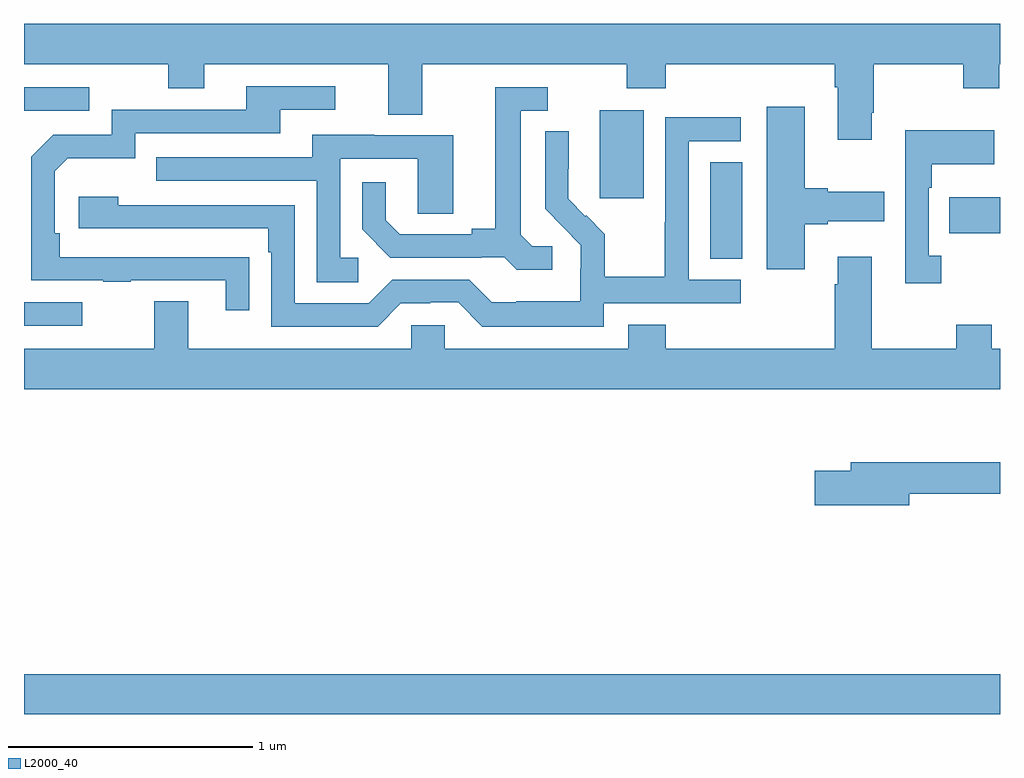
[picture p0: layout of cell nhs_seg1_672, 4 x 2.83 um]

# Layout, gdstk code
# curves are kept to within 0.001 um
import gdstk
lib = gdstk.Library(unit=1e-6, precision=1e-09)
def R(c, l, rs):  # rectangles x0, y0, x1, y1
    for r in rs: c.add(gdstk.rectangle(r[:2], r[2:], *l))
def P(c, l, *ps):  # polygons
    for p in ps: c.add(gdstk.Polygon(p, *l))
L2000_40 = (2000, 40)

nhs_seg1_672 = lib.new_cell('nhs_seg1_672')
R(nhs_seg1_672, L2000_40, [(147,553.064,151,553.228), (147,554.655,147.238,554.751), (149.813,554.929,149.944,555.326), (150.793,555.034,151,555.181), (149.36,555.177,149.539,555.538), (147,555.537,147.268,555.633)])
P(nhs_seg1_672, L2000_40, [(147,555.728),(147.592,555.728),(147.592,555.629),(147.739,555.629),(147.739,555.728),(148.493,555.728),(148.493,555.52),(148.633,555.52),(148.633,555.728),(149.47,555.728),(149.47,555.629),(149.63,555.629),(149.63,555.728),(150.323,555.728),(150.323,555.632),(150.335,555.632),(150.335,555.417),(150.475,555.417),(150.475,555.529),(150.483,555.529),(150.483,555.728),(150.85,555.728),(150.85,555.629),(150.996,555.629),(150.996,555.728),(151,555.728),(151,555.892),(147,555.892)],
  [(147.923,554.936),(147.146,554.937),(147.146,555.034),(147.126,555.034),(147.126,555.288),(147.179,555.341),(147.456,555.341),(147.456,555.444),(148.051,555.444),(148.051,555.54),(148.276,555.54),(148.276,555.636),(147.911,555.636),(147.911,555.54),(147.36,555.54),(147.36,555.438),(147.12,555.438),(147.03,555.348),(147.03,554.841),(147.325,554.841),(147.325,554.836),(147.437,554.836),(147.437,554.841),(147.827,554.841),(147.827,554.718),(147.923,554.718)],
  [(149.164,554.982),(149.082,554.982),(149.035,555.029),(149.035,555.537),(149.146,555.537),(149.146,555.633),(148.931,555.633),(148.931,555.053),(148.835,555.053),(148.835,555.03),(148.54,555.03),(148.483,555.087),(148.483,555.244),(148.386,555.244),(148.386,555.05),(148.502,554.934),(148.874,554.934),(148.874,554.937),(148.968,554.937),(149.02,554.885),(149.164,554.885)],
  [(150.199,555.071),(150.295,555.071),(150.295,555.083),(150.526,555.083),(150.526,555.205),(150.295,555.205),(150.295,555.218),(150.199,555.218),(150.199,555.553),(150.044,555.553),(150.044,554.886),(150.199,554.886)],
  [(149.376,554.748),(149.938,554.748),(149.938,554.844),(149.724,554.844),(149.724,555.411),(149.938,555.411),(149.938,555.51),(149.628,555.51),(149.628,555.08),(149.626,555.08),(149.626,554.857),(149.381,554.857),(149.381,555.031),(149.304,555.108),(149.301,555.105),(149.231,555.176),(149.232,555.452),(149.136,555.452),(149.136,555.134),(149.282,554.986),(149.282,554.889),(149.28,554.889),(149.28,554.755),(149.017,554.755),(149.017,554.751),(148.917,554.751),(148.824,554.844),(148.509,554.844),(148.413,554.748),(148.11,554.748),(148.11,555.15),(147.386,555.15),(147.386,555.184),(147.225,555.184),(147.225,555.054),(148.001,555.054),(148.001,554.957),(148.014,554.957),(148.014,554.652),(148.449,554.652),(148.545,554.748),(148.664,554.748),(148.664,554.751),(148.779,554.751),(148.879,554.651),(149.376,554.651)],
  [(150.76,554.942),(150.708,554.942),(150.708,555.221),(150.721,555.221),(150.721,555.317),(150.977,555.317),(150.977,555.457),(150.612,555.457),(150.612,554.829),(150.76,554.829)],
  [(148.369,554.934),(148.296,554.934),(148.296,555.339),(148.614,555.339),(148.614,555.115),(148.759,555.115),(148.759,555.435),(148.435,555.435),(148.435,555.439),(148.181,555.439),(148.181,555.345),(147.541,555.345),(147.541,555.249),(148.2,555.249),(148.2,554.833),(148.369,554.833)],
  [(151,554.56),(150.967,554.56),(150.967,554.659),(150.82,554.659),(150.82,554.56),(150.475,554.56),(150.475,554.938),(150.335,554.938),(150.335,554.825),(150.323,554.825),(150.323,554.56),(149.63,554.56),(149.63,554.659),(149.477,554.659),(149.477,554.56),(148.725,554.56),(148.725,554.658),(148.587,554.658),(148.587,554.56),(147.673,554.56),(147.673,554.755),(147.533,554.755),(147.533,554.56),(147,554.56),(147,554.396),(151,554.396)],
  [(150.628,553.966),(151,553.966),(151,554.095),(150.389,554.095),(150.389,554.061),(150.24,554.061),(150.24,553.919),(150.628,553.919)])

lib.write_gds('nhs_seg1_672.gds')
